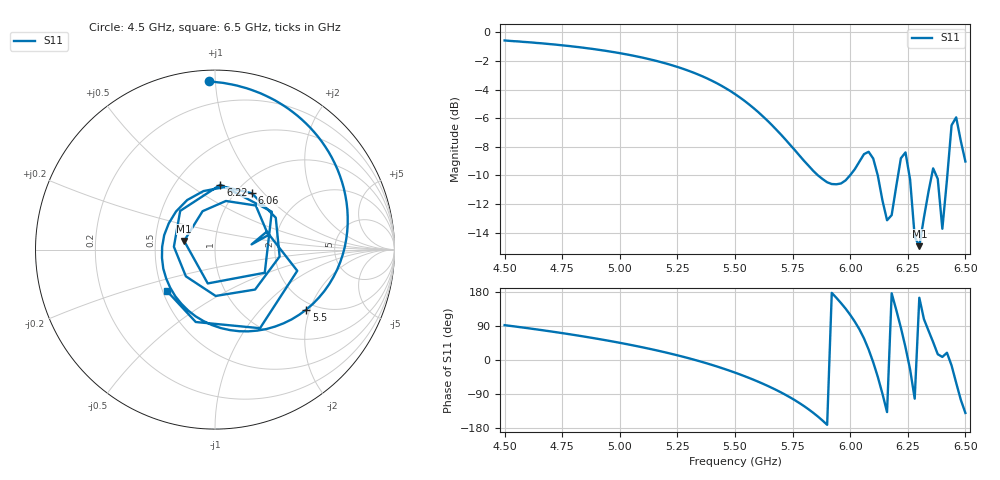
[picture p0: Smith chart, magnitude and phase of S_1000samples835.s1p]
! TOUCHSTONE file generated by CST MICROWAVE STUDIO
! Date and time: Sat Oct 29 13:29:56 2022
! Project name: L.cst
! Parameters = {Di=1.27; Epsilon_r=1.56; InnerDiameter=1.27; Length=2; Lf=10; Lg=60; OuterConductorThickness=0.2921; OuterDiameter=3.6; Wf=3; Wp=41.2; de=1.5; df=6.8; g=0.8; gx=4.98031; gy=3.23733; h=2.34; hf=1.524; px=14.3206; py=14.3689; w=9.7; wx=9.34032; wy=11.1315}
! Header version: 2018
! Port assignment regex: !\s*Touchstone port\s*([0-9]+)\s*=\s*(CST MWS port|CST DS port)\s*([0-9]+|Zmin|Zmax)\s*\(\"(.*)\"\)(\s*mode\s*([0-9]+))?.*
! Touchstone port assignment:
! Touchstone port 1 = CST MWS port 1 ("")
# GHz S DB R 50
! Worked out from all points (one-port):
!   101 points, 4.5 GHz to 6.5 GHz, reference 50 ohm
!   lowest |S11| = -15.0 dB at 6.3 GHz (marker M1), VSWR 1.44, Z = 35.2 + j3.52 ohm
!   |S11| at or under -10 dB: 5.86 GHz to 5.999 GHz (139.4 MHz wide, 2.35 % of centre); 6.12 GHz to 6.208 GHz (88.1 MHz wide, 1.43 % of centre); 6.257 GHz to 6.354 GHz (97.03 MHz wide, 1.54 % of centre) (the widest 3 of 4)
!   S11 on the Smith chart (normalised r, x): 4.5 GHz: 0.06, +0.96; 5.5 GHz: 1.78, -1.89; 6.06 GHz: 1.18, +0.86; 6.22 GHz: 0.81, +0.68; 6.5 GHz: 0.53, -0.27
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4.5  -0.56 92.0
4.76  -0.92 70.0
5  -1.45 45.3
5.26  -2.47 10.9
5.5  -4.31 -33.3
5.64  -6.16 -67.8
5.76  -8.24 -106.1
5.9  -10.48 -171.0
6  -9.99 119.3
6.06  -8.51 56.8
6.1  -8.82 -6.1
6.12  -10.02 -44.9
6.14  -11.76 -89.2
6.18  -12.78 176.0
6.2  -10.75 132.0
6.22  -8.80 85.2
6.24  -8.39 33.7
6.26  -10.29 -24.9
6.28  -14.30 -102.1
6.3  -14.95 164.3
6.34  -11.13 77.3
6.38  -10.24 15.2
6.4  -13.73 8.1
6.42  -10.31 19.1
6.44  -6.50 -14.5
6.46  -5.94 -60.2
6.48  -7.59 -104.9
6.5  -9.03 -139.8
